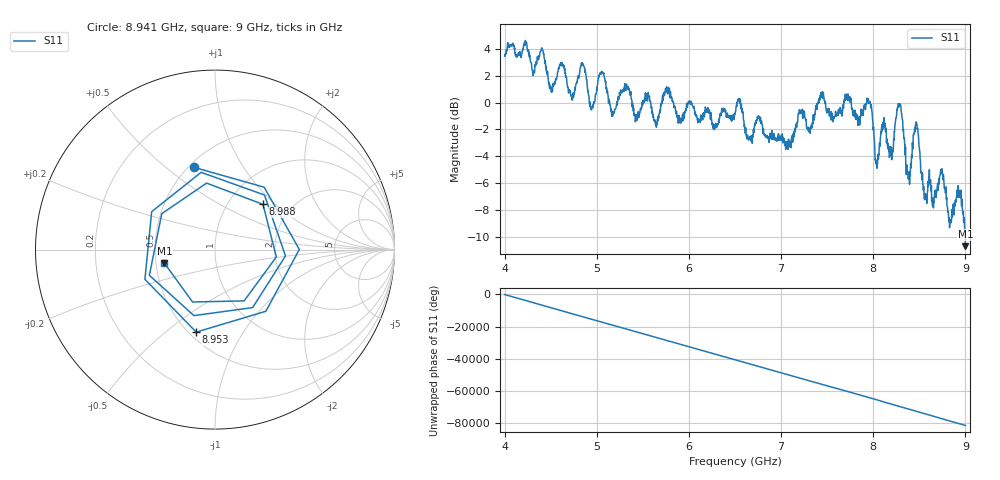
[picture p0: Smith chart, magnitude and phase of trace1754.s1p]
! Created with skrf 1.8.0 (http://scikit-rf.org).
# Hz S RI R 50.0
!freq ReS11 ImS11
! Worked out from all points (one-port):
!   1601 points, 4 GHz to 9 GHz, reference 50 ohm
!   lowest |S11| = -10.7 dB at 9 GHz (marker M1), VSWR 1.82, Z = 27.7 - j4.55 ohm
!   |S11| at or under -10 dB: 8.997138 GHz to end of sweep
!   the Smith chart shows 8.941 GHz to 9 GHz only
!   S11 on the Smith chart (normalised r, x): 8.941 GHz: 0.54, +0.63; 8.953 GHz: 0.54, -0.64; 8.988 GHz: 1.44, +0.84; 9 GHz: 0.55, -0.09
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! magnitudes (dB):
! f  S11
! 4 GHz  3.5
! 4.406 GHz  4.0
! 4.509 GHz  0.8
! 4.625 GHz  2.9
! 4.734 GHz  0.2
! 4.853 GHz  2.8
! 4.944 GHz  -0.4
! 5.05 GHz  2.3
! 5.166 GHz  -0.9
! 5.25 GHz  0.5
! 5.875 GHz  -1.0
! 6.5 GHz  -0.9
! 7.125 GHz  -3.0
! 7.434 GHz  0.8
! 7.75 GHz  0.0
! 7.956 GHz  0.0
! 8.041 GHz  -4.9
! 8.116 GHz  -1.4
! 8.2 GHz  -4.3
! 8.288 GHz  -0.1
! 8.375 GHz  -5.3
! 8.466 GHz  -1.4
! 8.562 GHz  -7.2
! 8.834 GHz  -8.7
! 8.941 GHz  -6.5
! 8.953 GHz  -6.5
! 8.988 GHz  -8.7
! 9 GHz  -10.7
